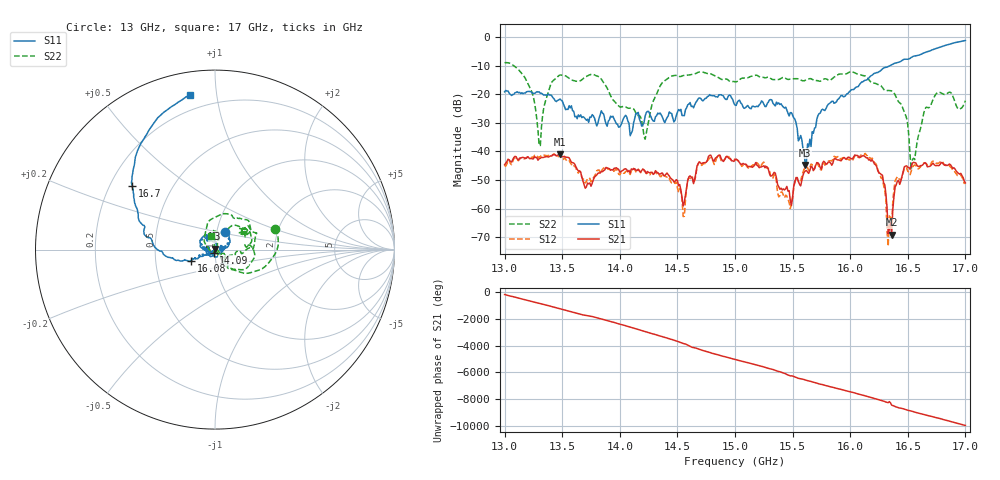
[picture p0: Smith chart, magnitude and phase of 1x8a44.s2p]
!Keysight Technologies,P9374A,MY57211807,A.19.30.04
!Date: Friday, May 08, 2026 14:14:14
!Correction: S11(C  2-Port  )
!S21(C  2-Port  )
!S12(C  2-Port  )
!S22(C  2-Port  )
!S2P File: Measurements: S11, S21, S12, S22:
# Hz S  dB  R 50
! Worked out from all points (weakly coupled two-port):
!   401 points, 13 GHz to 17 GHz, reference 50 ohm
!   highest |S21| = -40.98 dB at 13.48 GHz (marker M1); lowest = -69.1 dB at 16.36 GHz (marker M2)
!   lowest |S11| = -44.7 dB at 15.61 GHz (marker M3), VSWR 1.01, Z = 50 + j0.579 ohm
!   |S11| at or under -10 dB: start of sweep to 16.34 GHz
!   |S22| runs from -46.3 to -8.9 dB; largest |S21 - S12| = 0.0014
!   S11 on the Smith chart (normalised r, x): 13 GHz: 1.09, +0.21; 14.09 GHz: 0.98, -0.03; 16.08 GHz: 0.76, -0.10; 16.7 GHz: 0.29, +0.31; 17 GHz: 0.12, +0.84
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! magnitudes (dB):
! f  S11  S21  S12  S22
! 13 GHz  -19.1  -44.7  -45.0  -9.0
! 13.21 GHz  -19.0  -42.2  -42.2  -16.9
! 13.3 GHz  -19.1  -42.5  -42.0  -37.9
! 13.48 GHz  -21.6  -41.0  -41.4  -13.3
! 13.67 GHz  -28.2  -48.9  -49.0  -14.9
! 14.09 GHz  -34.5  -47.5  -48.1  -24.8
! 14.22 GHz  -27.6  -46.9  -47.1  -35.7
! 14.34 GHz  -26.9  -47.9  -48.0  -17.9
! 14.55 GHz  -27.4  -59.0  -62.7  -13.4
! 14.69 GHz  -21.3  -43.7  -43.6  -12.2
! 15 GHz  -23.8  -42.9  -42.8  -15.6
! 15.48 GHz  -26.4  -57.1  -60.0  -14.7
! 15.61 GHz  -44.7  -46.8  -45.7  -15.1
! 15.67 GHz  -33.1  -45.4  -44.6  -14.8
! 16.08 GHz  -16.6  -42.2  -41.9  -13.1
! 16.28 GHz  -11.1  -48.3  -49.4  -17.6
! 16.34 GHz  -10.1  -67.2  -62.1  -18.7
! 16.36 GHz  -9.7  -69.1  -65.1  -18.9
! 16.48 GHz  -7.7  -45.1  -45.8  -27.2
! 16.54 GHz  -6.9  -44.1  -45.5  -42.9
! 16.7 GHz  -4.7  -45.0  -44.5  -23.8
! 17 GHz  -1.2  -51.0  -51.1  -22.2
